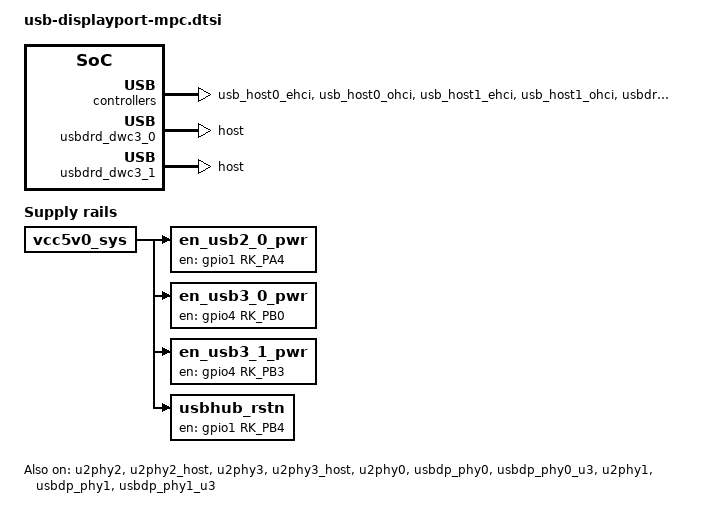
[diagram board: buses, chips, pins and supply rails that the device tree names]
/{

/*
EN_USB2_0_PWR - page 14, block D9-6
B25 -> R244
enable power for usb20_host0, usb20_host1
*/
en_usb2_0_pwr: en_usb2_0_pwr {
    compatible = "regulator-fixed";
    regulator-name = "en_usb2_0_pwr";
    regulator-boot-on;
    regulator-always-on;
	enable-active-high;
    gpios = <&gpio1 RK_PA4 GPIO_ACTIVE_HIGH>;
    vin-supply = <&vcc5v0_sys>;
    status = "okay";
};

// AK26 -> D19
// EN_USB3_0_PWR - page 14, block D9-8
en_usb3_0_pwr: en_usb3_0_pwr {
    compatible = "regulator-fixed";
    regulator-name = "en_usb3_0_pwr";
    regulator-boot-on;
    regulator-always-on;
    enable-active-high;
    gpios = <&gpio4 RK_PB0 GPIO_ACTIVE_HIGH>;
    vin-supply = <&vcc5v0_sys>;
    status = "okay";
};

// EN_USB3_1_PWR - page 14, block D9-8
// AM25 -> EN_USB3_1_PWR -> D19
en_usb3_1_pwr: en_usb3_1_pwr {
    compatible = "regulator-fixed";
    regulator-name = "en_usb3_1_pwr";
    regulator-boot-on;
    regulator-always-on;
    enable-active-high;
    gpios = <&gpio4 RK_PB3 GPIO_ACTIVE_HIGH>;
    vin-supply = <&vcc5v0_sys>;
    status = "okay";
};

/*
disable reset on usb hubs for usb20_host0 and usb20_host1 
usb20_host0_nreset - page 14, block D9-6
E24 -> USBHUB_RSTn -> D20
*/
usbhub_rstn: usbhub_rstn {
    compatible = "regulator-fixed";
    regulator-name = "usbhub_rstn";
    regulator-boot-on;
    regulator-always-on;
    enable-active-high;
    gpios = <&gpio1 RK_PB4 GPIO_ACTIVE_HIGH>;
    vin-supply = <&vcc5v0_sys>;
    status = "okay";
};

};

/*
	USB20_HOST0
*/
&usb_host0_ehci {
	status = "okay";
};

&usb_host0_ohci {
	status = "okay";
};

&u2phy2 {
	status = "okay";
};

&u2phy2_host {
	status = "okay";
};
/*
	//USB20_HOST0
*/

/*
	USB20_HOST1
*/
&usb_host1_ehci {
	status = "okay";
};

&usb_host1_ohci {
	status = "okay";
};

&u2phy3 {
	status = "okay";
};

&u2phy3_host {
	status = "okay";
};
/*
	//USB20_HOST1
*/

/*
	USBTYPEC0 OR DISPLAY_PORT
*/


&usbdrd_dwc3_0 {
	status = "okay";
	dr_mode = "host";
	extcon = <&u2phy0>;
};

&usbdrd3_0 {
	status = "okay";
};

&u2phy0 {
	status = "okay";
};

&u2phy0_otg {
	status = "disabled";
};

&usbdp_phy0 {
	status = "okay";
	/* #USB3.1/DP PHY0, just configure DP to use lane2/3, the driver will automatically assign lane0/1 to
	USB3.1 Rx/Tx #If the hardware design DP uses lane0/1, then "rockchip,dp" should be configured
	here -lane-mux =<0 1>*/
	rockchip,dp-lane-mux = < 2 3 >; 
};

&usbdp_phy0_u3 {
	status = "okay";
};
/*
	//USBTYPEC0 OR DISPLAY_PORT
*/

/*
	USBTYPEC1 OR DISPLAY_PORT
*/
&usbdrd_dwc3_1{
	status = "okay";
	dr_mode = "host";
	extcon = <&u2phy1>;	
};

&usbdrd3_1{
	status = "okay";
};

&u2phy1 {
	status = "okay";
};

&u2phy1_otg {
	status = "disabled";
};

&usbdp_phy1 {
	status = "okay";
	/* #USB3.1/DP PHY0, just configure DP to use lane2/3, the driver will automatically assign lane0/1 to
	USB3.1 Rx/Tx #If the hardware design DP uses lane0/1, then "rockchip,dp" should be configured
	here -lane-mux =<0 1>*/
	rockchip,dp-lane-mux = < 2 3 >; 
};

&usbdp_phy1_u3 {
	status = "okay";
};
/*
	//USBTYPEC1 OR DISPLAY_PORT
*/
